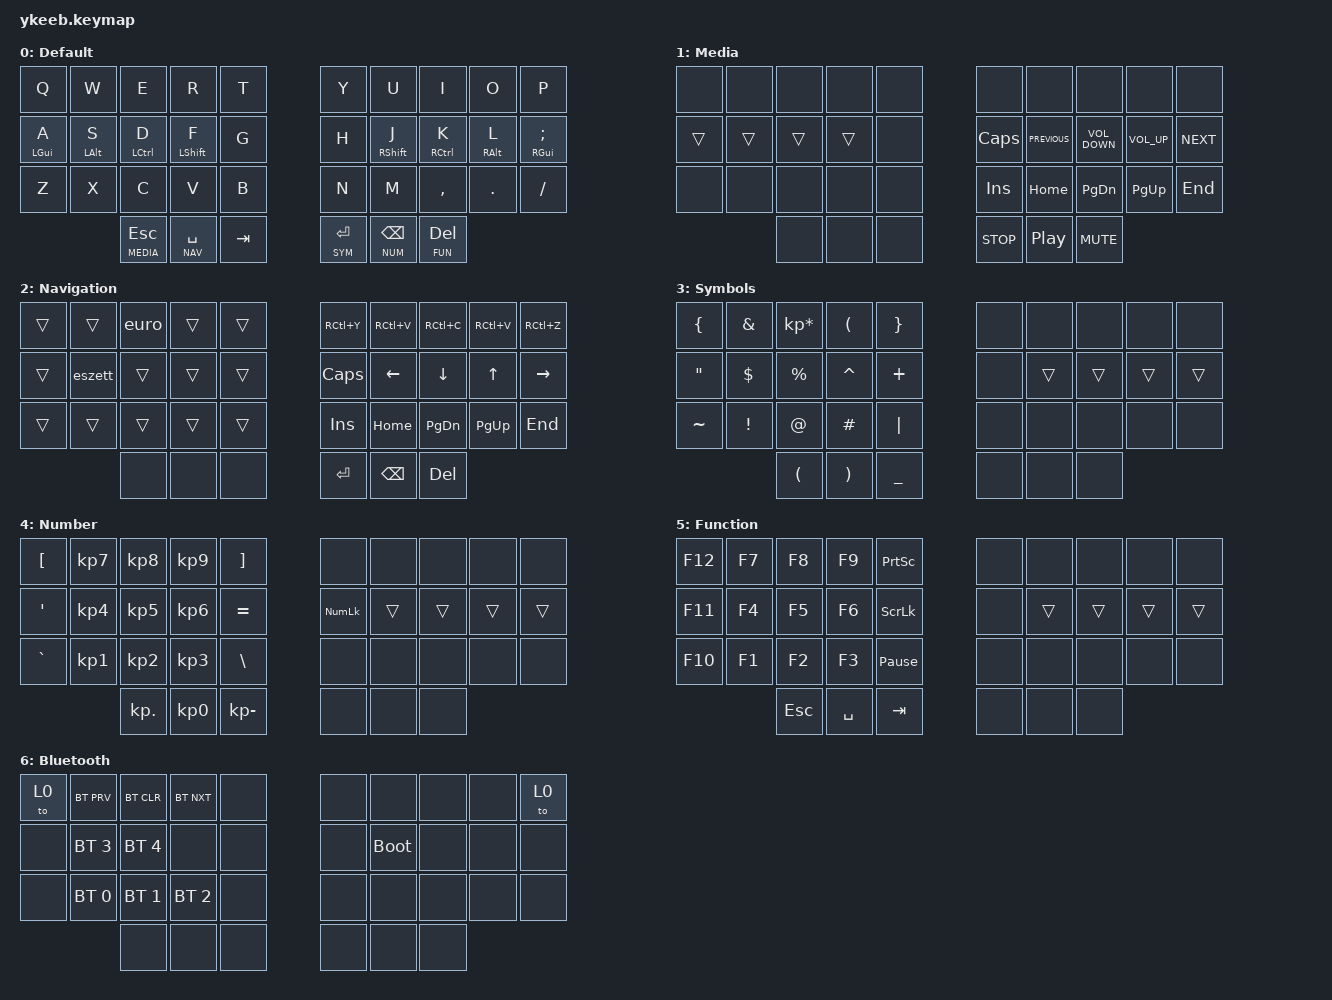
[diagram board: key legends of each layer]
#include <behaviors.dtsi>
#include <dt-bindings/zmk/keys.h>
#include <dt-bindings/zmk/bt.h>


#define DEFAULT 0
#define MEDIA   1
#define NAV     2
#define SYM     3
#define NUM     4
#define FUN     5
#define BT      6


&lt {
    tapping-term-ms = <150>;
};


/ {

    behaviors {
        hm: homerow_mods {
            compatible = "zmk,behavior-hold-tap";
            label = "HOMEROW_MODS";
            #binding-cells = <2>;
            tapping-term-ms = <175>;
            quick_tap_ms = <0>;
            flavor = "balanced";
            bindings = <&kp>, <&kp>;
        };
        hs: homerow_shift {
            compatible = "zmk,behavior-hold-tap";
            label = "HOMEROW_SHIFT";
            #binding-cells = <2>;
            tapping-term-ms = <150>;
            quick_tap_ms = <0>;
            flavor = "balanced";
            bindings = <&kp>, <&kp>;
        };
    };
    

    combos {
        compatible = "zmk,combos";
        combo_btlayer {
            timeout-ms = <100>;
            key-positions = <0 9>;
            bindings = <&to BT>;
            };
        };
    

    macros {
        eszett: eszett {
            compatible = "zmk,behavior-macro";
            #binding-cells = <0>;
            wait-ms = <5>;
            tap-ms = <5>;
            bindings
                = <&macro_press   &kp LALT>
                , <&macro_tap     &kp KP_N0 &kp KP_N2 &kp KP_N2 &kp KP_N3>
                , <&macro_release &kp LALT>
                ;
        };

        euro: euro {
            compatible = "zmk,behavior-macro";
            #binding-cells = <0>;
            wait-ms = <10>;
            tap-ms = <10>;
            bindings
                = <&macro_press   &kp LALT>
                , <&macro_tap     &kp KP_N0 &kp KP_N1 &kp KP_N2 &kp KP_N8>
                , <&macro_release &kp LALT>
                ;
        };
    };


    keymap {
        compatible = "zmk,keymap";

// Colemak DH
//        default_layer {
//            label = "Default";
//
//                        bindings = <
//    &kp Q        &kp W        &kp F       &kp P         &kp B                                             &kp J         &kp L        &kp U  &kp Y       &kp SINGLE_QUOTE
//    &hm LGUI A   &hm LALT R   &hm LCTL S  &hs LSHIFT T  &kp G                                             &kp M         &hs RSHIFT N &hm RCTL E    &hm RALT I  &hm RGUI O
//    &kp Z        &kp X        &kp C       &kp D         &kp V                                             &kp K         &kp H        &kp COMMA     &kp DOT     &kp SLASH                                       
//                                   &lt MEDIA ESC &lt NAV SPACE  &lt MOUSE TAB        &lt SYM RET   &lt NUM BSPC &lt FUN DEL
//         >;

// QWERTY               
        default_layer {
            label = "Default";

                        bindings = <
    &kp Q        &kp W        &kp E       &kp R         &kp T                                             &kp Y         &kp U        &kp I  &kp O       &kp P
    &hm LGUI A   &hm LALT S   &hm LCTL D  &hs LSHIFT F  &kp G                                             &kp H         &hs RSHIFT J &hm RCTL K    &hm RALT L  &hm RGUI SEMICOLON
    &kp Z        &kp X        &kp C       &kp V         &kp B                                             &kp N         &kp M        &kp COMMA     &kp DOT     &kp SLASH                                       
                                   &lt MEDIA ESC &lt NAV SPACE  &kp TAB        &lt SYM RET   &lt NUM BSPC &lt FUN DEL
         >;
	
        };

        media_layer {
            label = "Media";

            bindings = <
    &none       &none       &none        &none            &none                                      &none             &none       &none         &none         &none
    &trans       &trans       &trans        &trans            &none                                      &kp CAPSLOCK             &kp C_PREVIOUS      &kp C_VOLUME_DOWN    &kp C_VOLUME_UP      &kp C_NEXT
    &none       &none       &none        &none            &none                                      &kp INSERT        &kp HOME     &kp PAGE_DOWN       &kp PAGE_UP   &kp END
                                         &none            &none        &none         &kp C_STOP      &kp C_PLAY_PAUSE       &kp C_MUTE
            >;
        };   

        nav_layer {
            label = "Navigation";

            bindings = <
    &trans      &trans    &euro     &trans    &trans                                      &kp RC(Y)            &kp RC(V)       &kp RC(C)        &kp RC(V)         &kp RC(Z)
    &trans      &eszett    &trans     &trans    &trans                                      &kp CAPS           &kp LEFT_ARROW       &kp DOWN_ARROW        &kp UP_ARROW          &kp RIGHT_ARROW 
    &trans      &trans    &trans     &trans    &trans                                      &kp INSERT        &kp HOME       &kp PAGE_DOWN         &kp PAGE_UP        &kp END
                                  &none    &none     &none              &kp RET         &kp BSPC       &kp DEL
            >;
        };

        sym_layer {
            label = "Symbols";

            bindings = <
    &kp LBRC          &kp AMPS     &kp KP_MULTIPLY        &kp LPAR             &kp RBRC                                      &none             &none       &none         &none         &none
    &kp DOUBLE_QUOTES &kp DLLR       &kp PRCNT        &kp CARET            &kp PLUS                                      &none             &trans            &trans             &trans       &trans
    &kp TILDE         &kp EXCLAMATION       &kp AT        &kp HASH           &kp PIPE                                     &none        &none     &none       &none   &none
                                            &kp LPAR           &kp RPAR        &kp UNDER         &none         &none       &none
            >;
        };

        num_layer {
            label = "Number";

            bindings = <
    &kp LBKT          &kp KP_N7       &kp KP_N8        &kp KP_N9            &kp RBKT                                      &none             &none       &none         &none         &none
    &kp SINGLE_QUOTE  &kp KP_N4       &kp KP_N5        &kp KP_N6           &kp EQUAL                                      &kp KP_NUMLOCK             &trans            &trans             &trans       &trans
    &kp GRAVE         &kp KP_N1       &kp KP_N2       &kp KP_N3            &kp BSLH                                      &none        &none     &none       &none   &none
                                            &kp KP_DOT         &kp KP_N0        &kp KP_MINUS         &none         &none       &none
            >;
        };

        fun_layer {
            label = "Function";

            bindings = <
    &kp F12       &kp F7       &kp F8        &kp F9           &kp PSCRN                                        &none             &none       &none         &none         &none
    &kp F11       &kp F4       &kp F5        &kp F6            &kp SLCK                                      &none             &trans            &trans             &trans       &trans
    &kp F10       &kp F1       &kp F2        &kp F3            &kp PAUSE_BREAK                                     &none        &none     &none       &none   &none
                                            &kp ESC            &kp SPACE        &kp TAB         &none         &none       &none
            >;
        };

        Bluetooth_layer {
            label = "Bluetooth";

            bindings = <
    &to 0       &bt BT_PRV       &bt BT_CLR       &bt BT_NXT            &none                                      &none        &none     &none       &none   &to 0
    &none       &bt BT_SEL 3      &bt BT_SEL 4       &none            &none                                      &none        &bootloader    &none     &none   &none
    &none       &bt BT_SEL 0     &bt BT_SEL 1       &bt BT_SEL 2            &none                                      &none        &none     &none       &none   &none
                                         &none            &none        &none         &none         &none       &none
            >;
        };   


    };
};
